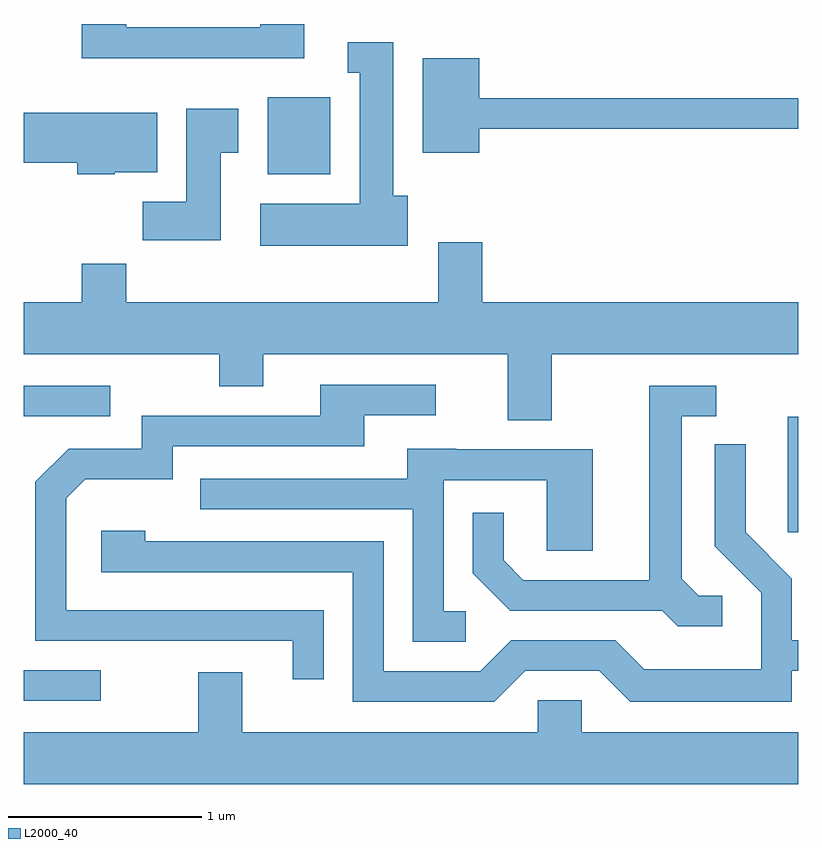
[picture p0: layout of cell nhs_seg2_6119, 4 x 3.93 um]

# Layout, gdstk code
import gdstk
lib = gdstk.Library(unit=1e-6, precision=1e-09)
def R(c, l, rs):  # rectangles x0, y0, x1, y1
    for r in rs: c.add(gdstk.rectangle(r[:2], r[2:], *l))
def P(c, l, *ps):  # polygons
    for p in ps: c.add(gdstk.Polygon(p, *l))
L2000_40 = (2000, 40)

nhs_seg2_6119 = lib.new_cell('nhs_seg2_6119')
R(nhs_seg2_6119, L2000_40, [(365.611,1044.306,366.008,1044.464), (369.556,1045.176,369.611,1045.774), (366.871,1047.026,367.194,1047.424)])
P(nhs_seg2_6119, L2000_40, [(367.059,1047.802),(366.831,1047.802),(366.831,1047.784),(366.139,1047.784),(366.139,1047.802),(365.911,1047.802),(365.911,1047.626),(367.059,1047.626)],
  [(367.594,1046.914),(367.519,1046.914),(367.519,1047.709),(367.283,1047.709),(367.283,1047.551),(367.346,1047.551),(367.346,1046.874),(366.831,1046.874),(366.831,1046.656),(367.594,1046.656)],
  [(367.964,1047.261),(369.611,1047.261),(369.611,1047.419),(367.964,1047.419),(367.964,1047.624),(367.671,1047.624),(367.671,1047.136),(367.964,1047.136)],
  [(366.629,1047.136),(366.719,1047.136),(366.719,1047.364),(366.451,1047.364),(366.451,1046.884),(366.226,1046.884),(366.226,1046.686),(366.629,1046.686)],
  [(366.08,1047.036),(366.299,1047.036),(366.299,1047.344),(365.611,1047.344),(365.611,1047.086),(365.886,1047.086),(365.886,1047.026),(366.08,1047.026)],
  [(367.979,1046.674),(367.751,1046.674),(367.751,1046.364),(366.139,1046.364),(366.139,1046.564),(365.911,1046.564),(365.911,1046.364),(365.611,1046.364),(365.611,1046.096),(366.621,1046.096),(366.621,1045.931),(366.849,1045.931),(366.849,1046.096),(368.111,1046.096),(368.111,1045.756),(368.339,1045.756),(368.339,1046.096),(369.611,1046.096),(369.611,1046.364),(367.979,1046.364)],
  [(367.159,1044.774),(365.829,1044.774),(365.829,1045.353),(365.927,1045.451),(366.379,1045.451),(366.379,1045.621),(367.369,1045.621),(367.369,1045.781),(367.738,1045.781),(367.738,1045.939),(367.141,1045.939),(367.141,1045.779),(366.221,1045.779),(366.221,1045.609),(365.844,1045.609),(365.671,1045.437),(365.671,1044.616),(367.001,1044.616),(367.001,1044.418),(367.159,1044.418)],
  [(365.612,1045.776),(366.058,1045.776),(366.058,1045.934),(365.611,1045.934),(365.611,1045.775)],
  [(369.218,1044.849),(369.097,1044.849),(369.009,1044.937),(369.009,1045.776),(369.188,1045.776),(369.188,1045.934),(368.841,1045.934),(368.841,1044.929),(368.192,1044.929),(368.089,1045.032),(368.089,1045.277),(367.931,1045.277),(367.931,1044.964),(368.124,1044.771),(368.909,1044.771),(368.989,1044.691),(369.218,1044.691)],
  [(368.202,1044.461),(368.584,1044.461),(368.744,1044.301),(369.579,1044.301),(369.579,1044.461),(369.611,1044.461),(369.611,1044.619),(369.579,1044.619),(369.579,1044.937),(369.339,1045.177),(369.339,1045.632),(369.181,1045.632),(369.181,1045.103),(369.421,1044.863),(369.421,1044.469),(368.817,1044.469),(368.667,1044.619),(368.129,1044.619),(367.969,1044.459),(367.469,1044.459),(367.469,1045.129),(366.239,1045.129),(366.239,1045.184),(366.011,1045.184),(366.011,1044.971),(367.311,1044.971),(367.311,1044.301),(368.042,1044.301)],
  [(367.893,1044.769),(367.779,1044.769),(367.779,1045.446),(368.311,1045.446),(368.311,1045.081),(368.549,1045.081),(368.549,1045.604),(367.845,1045.604),(367.845,1045.609),(367.591,1045.609),(367.591,1045.454),(366.523,1045.454),(366.523,1045.296),(367.621,1045.296),(367.621,1044.611),(367.893,1044.611)],
  [(369.611,1044.144),(368.494,1044.144),(368.494,1044.309),(368.266,1044.309),(368.266,1044.144),(366.739,1044.144),(366.739,1044.454),(366.511,1044.454),(366.511,1044.144),(365.611,1044.144),(365.611,1043.876),(369.611,1043.876)])

lib.write_gds('nhs_seg2_6119.gds')
